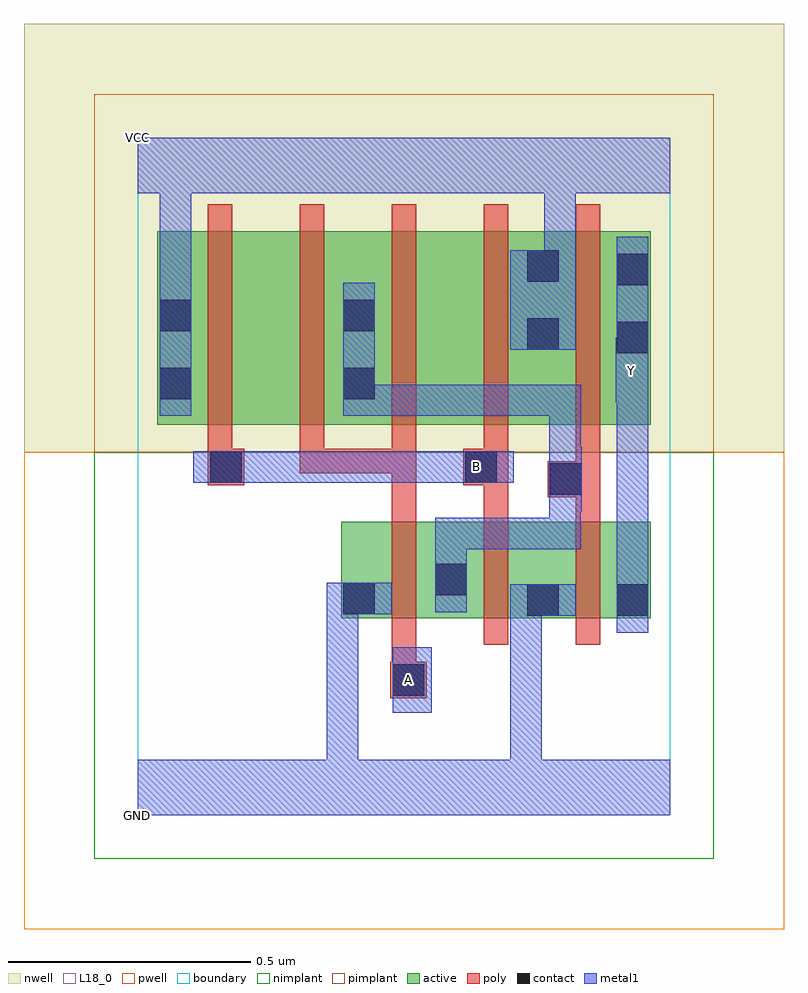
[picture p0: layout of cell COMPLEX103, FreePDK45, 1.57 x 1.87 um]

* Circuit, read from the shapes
.subckt COMPLEX103 A B GND VCC Y
M1 n1 A GND VSUBS nfet w=0.2u l=0.05u
M2 GND B n1 VSUBS nfet w=0.2u l=0.05u
M3 Y n1 GND VSUBS nfet w=0.2u l=0.05u
M4 n2 B VCC n3 pfet w=0.4u l=0.05u
M5 n1 A n2 n3 pfet w=0.4u l=0.05u
M6 n4 A n1 n3 pfet w=0.4u l=0.05u
M7 VCC B n4 n3 pfet w=0.4u l=0.05u
M8 Y n1 VCC n3 pfet w=0.4u l=0.05u
.ends

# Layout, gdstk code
import gdstk
lib = gdstk.Library(unit=1e-6, precision=1e-09)
def R(c, l, rs):  # rectangles x0, y0, x1, y1
    for r in rs: c.add(gdstk.rectangle(r[:2], r[2:], *l))
def A(c, l, x, y, w, h, nx, ny, dx, dy):  # array of equal rectangles
    R(c, l, [(x+i*dx, y+j*dy, x+i*dx+w, y+j*dy+h) for i in range(nx) for j in range(ny)])
active = (1, 0)
pwell = (2, 0)
nwell = (3, 0)
nimplant = (4, 0)
pimplant = (5, 0)
poly = (9, 0)
contact = (10, 0)
metal1 = (11, 0)
L18_0 = (18, 0)
boundary = (235, 0)

complex103 = lib.new_cell('COMPLEX103')
R(complex103, active, [(0.42,0.407,0.495,0.607), (0.42,0.407,0.685,0.607), (0.61,0.407,0.685,0.607), (0.61,0.407,0.875,0.607), (0.8,0.407,1.06,0.607), (0.8,0.407,0.875,0.597), (0.985,0.407,1.06,0.607), (0.04,0.807,0.265,1.207), (0.04,0.807,0.115,1.205), (0.265,0.807,0.495,1.207), (0.42,0.807,0.495,1.2), (0.42,0.807,0.645,1.207), (0.645,0.807,0.875,1.207), (0.8,0.807,1.06,1.207), (0.985,0.807,1.06,1.2), (0.8,0.907,0.875,1.205)])
R(complex103, pwell, [(-0.235,-0.235,1.335,0.75)])
R(complex103, nwell, [(-0.235,0.75,1.335,1.635)])
R(complex103, nimplant, [(-0.09,-0.09,1.19,0.75)])
R(complex103, pimplant, [(-0.09,0.75,1.19,1.49)])
A(complex103, poly, 0.525, 0.352, 0.05, 0.31, 3, 1, 0.19, 0)
A(complex103, poly, 0.145, 0.707, 0.05, 0.095, 4, 1, 0.19, 0)
A(complex103, poly, 0.145, 0.752, 0.05, 0.51, 5, 1, 0.19, 0)
R(complex103, poly, [(0.522,0.242,0.597,0.317), (0.525,0.267,0.575,0.402), (0.525,0.612,0.575,0.757), (0.715,0.612,0.765,0.732), (0.905,0.612,0.955,0.707), (0.847,0.657,0.955,0.732), (0.145,0.682,0.22,0.757), (0.672,0.682,0.765,0.757), (0.905,0.682,0.955,0.802), (0.335,0.707,0.575,0.757), (0.335,0.707,0.385,0.757), (0.335,0.707,0.385,0.757), (0.335,0.707,0.385,0.757), (0.525,0.707,0.575,0.757)])
R(complex103, contact, [(0.527,0.247,0.592,0.312), (0.805,0.412,0.87,0.477), (0.99,0.412,1.055,0.477), (0.425,0.415,0.49,0.48), (0.615,0.455,0.68,0.52), (0.852,0.662,0.917,0.727), (0.15,0.687,0.215,0.752), (0.677,0.687,0.742,0.752), (0.045,0.86,0.11,0.925), (0.425,0.86,0.49,0.925), (0.99,0.955,1.055,1.02), (0.805,0.962,0.87,1.027), (0.045,1,0.11,1.065), (0.425,1,0.49,1.065), (0.99,1.095,1.055,1.16), (0.805,1.102,0.87,1.167)])
R(complex103, metal1, [(0,0,1.1,0.115), (0.39,0.05,0.455,0.48), (0.77,0.05,0.835,0.115), (0.77,0.05,0.835,0.115), (0.77,0.05,0.835,0.115), (0.77,0.05,0.835,0.115), (0.77,0.05,0.835,0.115), (0.77,0.05,0.835,0.115), (0.77,0.05,0.835,0.477), (0.527,0.212,0.607,0.347), (0.99,0.377,1.055,0.512), (0.77,0.412,0.905,0.477), (0.39,0.415,0.455,0.48), (0.39,0.415,0.455,0.48), (0.39,0.415,0.455,0.48), (0.39,0.415,0.455,0.48), (0.39,0.415,0.455,0.48), (0.39,0.415,0.455,0.48), (0.39,0.415,0.525,0.48), (0.615,0.42,0.68,0.555), (0.99,0.447,1.055,0.917), (0.615,0.49,0.68,0.555), (0.615,0.49,0.68,0.615), (0.615,0.55,0.915,0.615), (0.85,0.55,0.915,0.615), (0.85,0.55,0.915,0.692), (0.85,0.627,0.915,0.692), (0.85,0.627,0.917,0.692), (0.85,0.627,0.915,0.89), (0.852,0.627,0.917,0.762), (0.115,0.687,0.25,0.752), (0.185,0.687,0.25,0.752), (0.185,0.687,0.25,0.752), (0.185,0.687,0.387,0.752), (0.322,0.687,0.387,0.752), (0.322,0.687,0.387,0.752), (0.322,0.687,0.387,0.752), (0.322,0.687,0.525,0.752), (0.46,0.687,0.525,0.752), (0.46,0.687,0.697,0.752), (0.632,0.687,0.697,0.752), (0.632,0.687,0.697,0.752), (0.632,0.687,0.777,0.752), (0.045,0.825,0.11,1.1), (0.425,0.825,0.49,1.1), (0.425,0.825,0.525,0.89), (0.46,0.825,0.525,0.89), (0.46,0.825,0.662,0.89), (0.597,0.825,0.662,0.89), (0.597,0.825,0.662,0.89), (0.597,0.825,0.662,0.89), (0.597,0.825,0.915,0.89), (0.85,0.825,0.915,0.89), (0.987,0.852,1.055,0.987), (0.99,0.92,1.055,1.195), (0.99,0.922,1.055,0.987), (0.77,0.962,0.905,1.167), (0.045,1.035,0.11,1.35), (0.84,1.102,0.905,1.35), (0,1.285,1.1,1.4)])
R(complex103, L18_0, [(0,0,1.1,0.115), (0.39,0.05,0.455,0.48), (0.77,0.05,0.835,0.115), (0.77,0.05,0.835,0.115), (0.77,0.05,0.835,0.115), (0.77,0.05,0.835,0.115), (0.77,0.05,0.835,0.115), (0.77,0.05,0.835,0.115), (0.77,0.05,0.835,0.477), (0.527,0.212,0.607,0.347), (0.527,0.247,0.592,0.312), (0.99,0.377,1.055,0.512), (0.77,0.412,0.905,0.477), (0.39,0.415,0.525,0.48), (0.39,0.415,0.455,0.48), (0.39,0.415,0.455,0.48), (0.39,0.415,0.455,0.48), (0.39,0.415,0.455,0.48), (0.39,0.415,0.455,0.48), (0.39,0.415,0.455,0.48), (0.99,0.447,1.055,0.917), (0.115,0.687,0.25,0.752), (0.185,0.687,0.25,0.752), (0.185,0.687,0.25,0.752), (0.185,0.687,0.387,0.752), (0.322,0.687,0.387,0.752), (0.322,0.687,0.387,0.752), (0.322,0.687,0.387,0.752), (0.322,0.687,0.525,0.752), (0.46,0.687,0.525,0.752), (0.46,0.687,0.697,0.752), (0.632,0.687,0.697,0.752), (0.632,0.687,0.697,0.752), (0.632,0.687,0.777,0.752), (0.667,0.687,0.732,0.752), (0.045,0.825,0.11,1.1), (0.987,0.852,1.055,0.987), (0.987,0.887,1.052,0.952), (0.99,0.92,1.055,1.195), (0.99,0.922,1.055,0.987), (0.77,0.962,0.905,1.167), (0.045,1.035,0.11,1.35), (0.84,1.102,0.905,1.35), (0,1.285,1.1,1.4)])
R(complex103, boundary, [(0,0,1.1,1.4)])
complex103.add(gdstk.Label('A', (0.56,0.28), layer=11, texttype=0))
complex103.add(gdstk.Label('B', (0.7,0.72), layer=11, texttype=0))
complex103.add(gdstk.Label('Y', (1.02,0.92), layer=11, texttype=0))
complex103.add(gdstk.Label('VCC', (0,1.4), layer=11, texttype=0))
complex103.add(gdstk.Label('GND', (0,0), layer=11, texttype=0))

lib.write_gds('COMPLEX103.gds')
